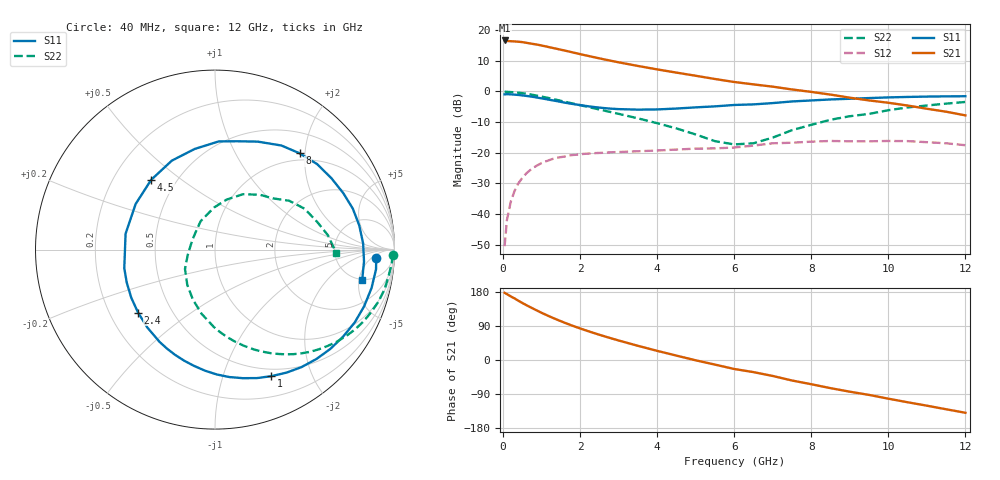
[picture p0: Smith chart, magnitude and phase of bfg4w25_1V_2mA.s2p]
! Filename: 12bfg425.001
! BFG425W Field C1
! V1=8.096E-001V,V2=1.000E+000V, I1=2.742E-005A, I2=2.000E-003A
# GHz  S  MA  R 50
!  S11  S21  S12  S22
!Freq(GHz)  Mag  Ang  Mag  Ang  Mag  Ang  Mag  Ang
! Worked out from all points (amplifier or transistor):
!   44 points, 40 MHz to 12 GHz, reference 50 ohm
!   highest |S21| = 16.6 dB at 40 MHz (marker M1)
!   |S21| within 3 dB of that: start of sweep to 1.492 GHz
!   unconditionally stable (mu >= 1): 3.097 GHz to end of sweep
!   at 700 MHz: K = 0.19, MSG = 20.7 dB, |S12| = -25.7 dB
!   at 2.4 GHz: K = 0.73, MSG = 15.6 dB, |S12| = -20.1 dB
!   at 12 GHz: K = 1.77, MAG = -0.2 dB, |S12| = -17.5 dB
!   S11 on the Smith chart (normalised r, x): 40 MHz: 15, -7; 1 GHz: 0.42, -1.46; 2.4 GHz: 0.32, -0.32; 4.5 GHz: 0.36, +0.39; 8 GHz: 0.86, +1.89; 12 GHz: 4.95, -5.54
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0.04  0.899 -2.9  6.799 177.3  0.003 77.3  0.99 -1.7
0.1  0.904 -7.0  6.673 174.0  0.008 85.4  0.988 -4.3
0.2  0.898 -13.8  6.605 167.8  0.016 80.6  0.978 -9.0
0.3  0.889 -20.8  6.557 162.4  0.024 76.0  0.97 -13.2
0.5  0.863 -34.1  6.387 150.5  0.039 67.0  0.938 -21.6
0.6  0.848 -40.7  6.237 145.0  0.046 62.8  0.92 -25.7
0.8  0.813 -53.6  5.933 134.6  0.058 54.6  0.875 -33.4
1  0.772 -66.0  5.621 124.5  0.068 47.3  0.826 -40.5
1.3  0.715 -83.4  5.116 110.8  0.08 37.6  0.753 -50.1
1.6  0.658 -100.3  4.651 98.3  0.087 29.3  0.682 -58.5
1.9  0.613 -115.9  4.208 86.9  0.093 22.4  0.618 -66.2
2.2  0.575 -130.9  3.814 76.4  0.097 16.5  0.56 -73.2
2.4  0.554 -140.7  3.582 69.8  0.099 13.1  0.525 -77.7
3  0.516 -168.4  2.992 51.5  0.103 4.6  0.432 -90.8
3.5  0.506 169.9  2.61 37.4  0.106 -1.0  0.365 -101.9
4.5  0.527 132.4  2.032 11.6  0.113 -10.7  0.25 -128.2
5.5  0.572 101.4  1.599 -12.1  0.118 -20.6  0.155 -168.7
6.5  0.616 78.5  1.306 -32.0  0.131 -25.6  0.143 140.5
8  0.714 48.7  0.985 -63.9  0.152 -48.1  0.286 76.9
8.5  0.742 40.0  0.89 -74.3  0.156 -56.5  0.346 63.1
10.5  0.815 9.5  0.59 -111.5  0.155 -88.6  0.549 24.5
12  0.837 -11.5  0.408 -139.3  0.133 -118.0  0.675 -1.4
